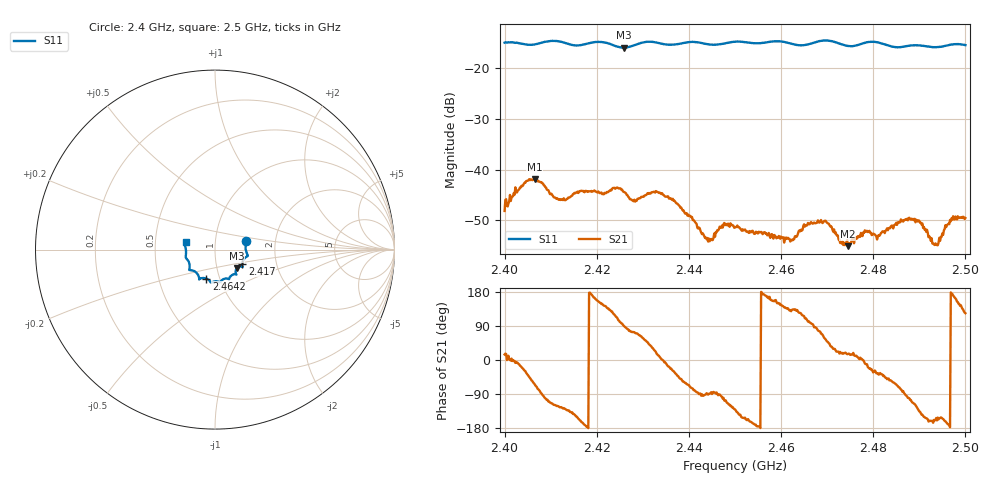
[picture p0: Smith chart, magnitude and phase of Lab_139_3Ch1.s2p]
# Hz S RI R 50
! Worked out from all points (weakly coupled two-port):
!   601 points, 2.4 GHz to 2.5 GHz, reference 50 ohm
!   highest |S21| = -41.81 dB at 2.4065 GHz (marker M1); lowest = -55.1 dB at 2.4745 GHz (marker M2)
!   lowest |S11| = -15.9 dB at 2.4258 GHz (marker M3), VSWR 1.38, Z = 62.3 - j13.2 ohm
!   |S11| at or under -10 dB: start of sweep to end of sweep
!   S12 and S22 are empty: the file has one direction only
!   S11 on the Smith chart (normalised r, x): 2.4 GHz: 1.41, +0.14; 2.417 GHz: 1.34, -0.22; 2.4642 GHz: 0.86, -0.29; 2.5 GHz: 0.72, +0.06
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2.4e9  0.1722 0.0495  0.00379 0.000977  0 0  0 0
2.4065e9  0.1717 -0.00384  0.0036 -0.00728  0 0  0 0
2.411667e9  0.1813 -0.0367  -0.00273 -0.00436  0 0  0 0
2.416667e9  0.1528 -0.0742  -0.00596 -0.00173  0 0  0 0
2.417e9  0.1522 -0.0781  -0.00595 -0.00145  0 0  0 0
2.425833e9  0.1218 -0.1032  -4.94e-05 0.00605  0 0  0 0
2.428167e9  0.1147 -0.1245  0.00145 0.00485  0 0  0 0
2.433333e9  0.1131 -0.1373  0.00585 0.00126  0 0  0 0
2.437e9  0.0872 -0.1482  0.00401 -0.00274  0 0  0 0
2.444e9  0.0636 -0.161  3.63e-05 -0.00212  0 0  0 0
2.447667e9  0.0367 -0.1718  -0.000861 -0.00286  0 0  0 0
2.45e9  0.0289 -0.181  -0.00175 -0.00205  0 0  0 0
2.462333e9  -0.0318 -0.1712  -0.00137 0.00151  0 0  0 0
2.464167e9  -0.0478 -0.1617  -0.00138 0.00204  0 0  0 0
2.466667e9  -0.0758 -0.1593  -0.000287 0.00297  0 0  0 0
2.469833e9  -0.0885 -0.1661  0.00191 0.00237  0 0  0 0
2.4745e9  -0.1017 -0.1313  0.0017 0.000474  0 0  0 0
2.483333e9  -0.1409 -0.0901  0.00174 -0.00199  0 0  0 0
2.4895e9  -0.163 -0.043  -0.00183 -0.00258  0 0  0 0
2.493667e9  -0.1616 -0.00616  -0.00162 -0.000829  0 0  0 0
2.496833e9  -0.1689 0.0262  -0.0031 9.21e-05  0 0  0 0
2.5e9  -0.1639 0.043  -0.00184 0.00278  0 0  0 0
